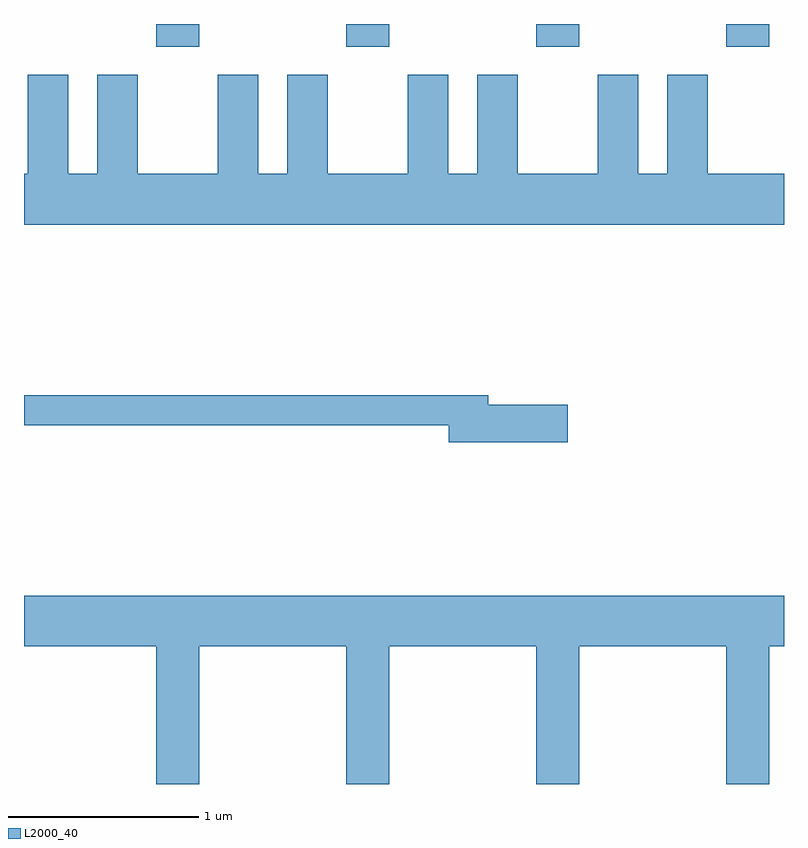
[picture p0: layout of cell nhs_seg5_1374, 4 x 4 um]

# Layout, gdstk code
import gdstk
lib = gdstk.Library(unit=1e-6, precision=1e-09)
def R(c, l, rs):  # rectangles x0, y0, x1, y1
    for r in rs: c.add(gdstk.rectangle(r[:2], r[2:], *l))
def A(c, l, x, y, w, h, nx, ny, dx, dy):  # array of equal rectangles
    R(c, l, [(x+i*dx, y+j*dy, x+i*dx+w, y+j*dy+h) for i in range(nx) for j in range(ny)])
def P(c, l, *ps):  # polygons
    for p in ps: c.add(gdstk.Polygon(p, *l))
L2000_40 = (2000, 40)

nhs_seg5_1374 = lib.new_cell('nhs_seg5_1374')
A(nhs_seg5_1374, L2000_40, 226.306, 1459.951, 0.228, 0.121, 4, 1, 1, 0)
P(nhs_seg5_1374, L2000_40, [(229.611,1459.284),(229.209,1459.284),(229.209,1459.804),(228.996,1459.804),(228.996,1459.284),(228.844,1459.284),(228.844,1459.804),(228.631,1459.804),(228.631,1459.284),(228.209,1459.284),(228.209,1459.804),(227.996,1459.804),(227.996,1459.284),(227.844,1459.284),(227.844,1459.804),(227.631,1459.804),(227.631,1459.284),(227.209,1459.284),(227.209,1459.804),(226.996,1459.804),(226.996,1459.284),(226.844,1459.284),(226.844,1459.804),(226.631,1459.804),(226.631,1459.284),(226.209,1459.284),(226.209,1459.804),(225.996,1459.804),(225.996,1459.284),(225.844,1459.284),(225.844,1459.804),(225.631,1459.804),(225.631,1459.284),(225.611,1459.284),(225.611,1459.016),(229.611,1459.016)],
  [(228.474,1458.069),(228.054,1458.069),(228.054,1458.119),(225.611,1458.119),(225.611,1457.961),(227.846,1457.961),(227.846,1457.871),(228.474,1457.871)],
  [(226.534,1456.796),(227.306,1456.796),(227.306,1456.072),(227.534,1456.072),(227.534,1456.796),(228.306,1456.796),(228.306,1456.072),(228.534,1456.072),(228.534,1456.796),(229.306,1456.796),(229.306,1456.072),(229.534,1456.072),(229.534,1456.796),(229.611,1456.796),(229.611,1457.064),(225.611,1457.064),(225.611,1456.796),(226.306,1456.796),(226.306,1456.072),(226.534,1456.072)])

lib.write_gds('nhs_seg5_1374.gds')
